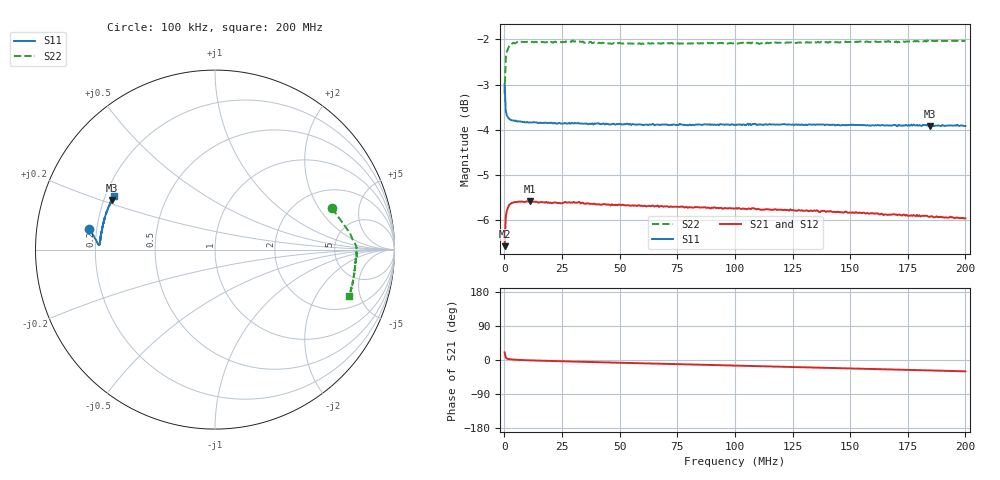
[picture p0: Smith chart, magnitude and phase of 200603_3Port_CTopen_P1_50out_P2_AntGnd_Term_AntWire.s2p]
# MHz S RI R 50
! S-Parameters data
! Freq  reS11  imS11  reS21  imS21  reS12  imS12  reS22  imS22
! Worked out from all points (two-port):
!   401 points, 100 kHz to 200 MHz, reference 50 ohm
!   highest |S21| = -5.58 dB at 11.09 MHz (marker M1); lowest = -6.6 dB at 100 kHz (marker M2)
!   |S21| within 3 dB of the highest: start of sweep to end of sweep
!   lowest |S11| = -3.9 dB at 184.5 MHz (marker M3), VSWR 4.50, Z = 11.7 + j10.8 ohm
!   |S11| at or under -10 dB: nowhere
!   |S22| runs from -3.2 to -2.0 dB; largest |S21 - S12| = 0.018
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0.1  -0.6994 0.1151  0.4409 0.1605  0.4407 0.1429  0.6524 0.2295
0.59975  -0.6606 0.0488  0.5021 0.06  0.5039 0.0501  0.7519 0.0922
1.59925  -0.6505 0.0287  0.5171 0.0254  0.5186 0.0142  0.7747 0.04
2.099  -0.6482 0.0265  0.5209 0.0203  0.5213 0.00881  0.7803 0.033
3.0985  -0.646 0.0248  0.5235 0.0134  0.5242 0.00181  0.7841 0.0237
4.098  -0.6452 0.0251  0.5244 0.00865  0.5253 -0.00276  0.7871 0.0179
5.0975  -0.6454 0.0249  0.525 0.00514  0.5256 -0.00648  0.7873 0.0131
7.0965  -0.6438 0.0268  0.5255 0.000132  0.5256 -0.0121  0.7883 0.00721
11.0945  -0.6421 0.0313  0.5259 -0.00836  0.526 -0.0198  0.7894 -0.0011
14.59275  -0.6408 0.037  0.5239 -0.0144  0.5255 -0.0264  0.7893 -0.00799
24.088  -0.6398 0.0506  0.5229 -0.0282  0.5231 -0.041  0.7884 -0.0222
30.58475  -0.6389 0.0608  0.5227 -0.0387  0.522 -0.0507  0.7892 -0.0315
33.58325  -0.6377 0.0652  0.522 -0.0436  0.5206 -0.0554  0.7881 -0.0369
45.57725  -0.6342 0.0833  0.5179 -0.0601  0.5172 -0.0725  0.7844 -0.0528
67.0665  -0.6291 0.1148  0.5109 -0.0882  0.5098 -0.1004  0.7826 -0.079
100.05  -0.6182 0.1623  0.4995 -0.1306  0.4969 -0.1437  0.778 -0.1213
133.5333  -0.604 0.2089  0.4831 -0.1733  0.4772 -0.1847  0.7709 -0.1655
155.0225  -0.5928 0.2381  0.4701 -0.199  0.4634 -0.2104  0.7649 -0.1944
167.0165  -0.5852 0.2541  0.4614 -0.2136  0.4546 -0.2248  0.7609 -0.2115
177.5112  -0.5806 0.2677  0.4548 -0.2262  0.4471 -0.2358  0.7571 -0.2253
184.5077  -0.5733 0.276  0.4483 -0.2337  0.4404 -0.2429  0.7534 -0.2346
200  -0.5638 0.2966  0.4365 -0.2512  0.4285 -0.2604  0.7483 -0.2559
